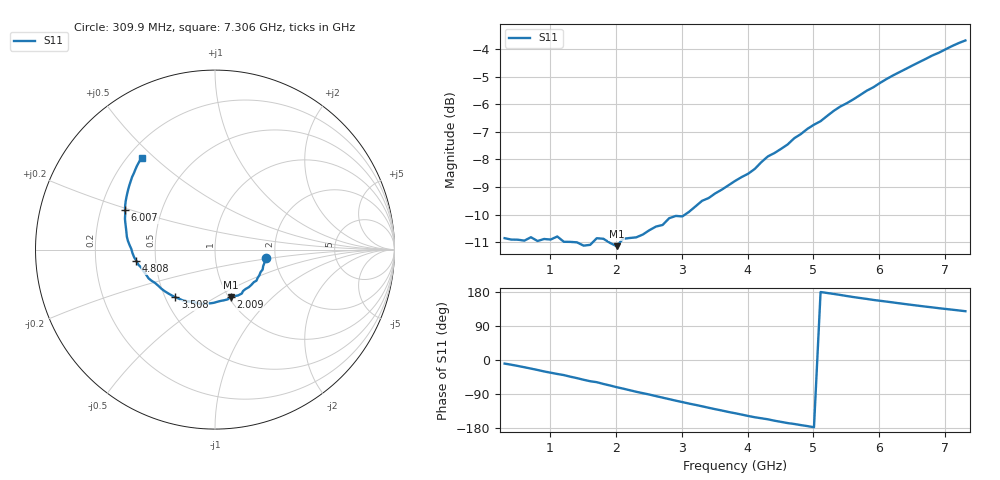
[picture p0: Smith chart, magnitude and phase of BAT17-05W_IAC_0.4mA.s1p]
! Infineon Technologies  Discrete & RF Semiconductors
! BAT17-05W
! IAC = 0.4 mA
! One-Port S-Parameters
# Hz  S  MA  R  50
!f  S11
!Hz  Mag  Ang
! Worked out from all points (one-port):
!   71 points, 309.9 MHz to 7.306 GHz, reference 50 ohm
!   lowest |S11| = -11.1 dB at 2.009 GHz (marker M1), VSWR 1.77, Z = 51.1 - j29.2 ohm
!   |S11| at or under -10 dB: start of sweep to 3.048 GHz
!   S11 on the Smith chart (normalised r, x): 309.9 MHz: 1.78, -0.18; 2.009 GHz: 1.02, -0.58; 3.508 GHz: 0.56, -0.34; 4.808 GHz: 0.39, -0.06; 6.007 GHz: 0.30, +0.19; 7.306 GHz: 0.26, +0.45
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3.0985e8  0.2867 -9.5
6.097e8  0.2838 -19.1
7.0965e8  0.2878 -22.6
8.096e8  0.2833 -26.3
1.10945e9  0.2887 -36.8
1.2094e9  0.2824 -39.8
1.50925e9  0.2779 -52.2
1.6092e9  0.2788 -56.0
1.70915e9  0.2867 -58.5
2.009e9  0.2773 -71.7
2.10895e9  0.286 -75.5
2.4088e9  0.2911 -87.6
2.70865e9  0.3029 -99.3
2.8086e9  0.3115 -103.3
3.0085e9  0.3139 -111.1
3.30835e9  0.335 -122.2
3.50825e9  0.3455 -129.8
3.8081e9  0.3638 -140.5
4.10795e9  0.3826 -151.0
4.30785e9  0.4031 -156.5
4.70765e9  0.4348 -168.8
4.8076e9  0.4424 -171.8
5.30735e9  0.4874 174.3
5.6072e9  0.5114 166.1
6.007e9  0.5472 156.4
6.50675e9  0.5891 145.1
6.8066e9  0.614 138.8
7.30635e9  0.6535 128.8
